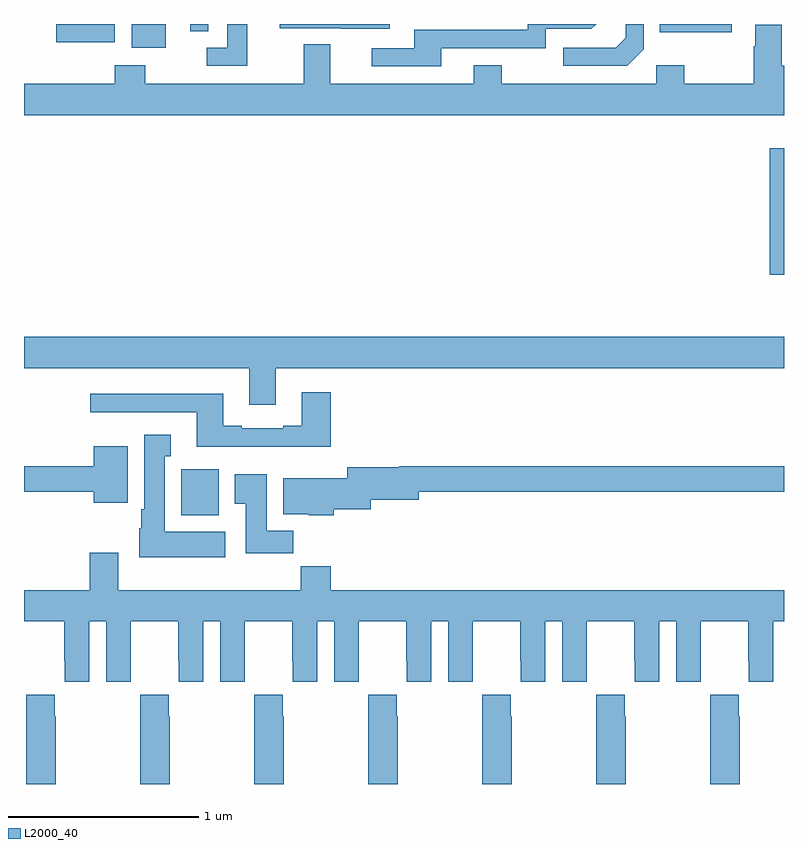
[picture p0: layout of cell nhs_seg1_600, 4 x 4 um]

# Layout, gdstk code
import gdstk
lib = gdstk.Library(unit=1e-6, precision=1e-09)
def R(c, l, rs):  # rectangles x0, y0, x1, y1
    for r in rs: c.add(gdstk.rectangle(r[:2], r[2:], *l))
def P(c, l, *ps):  # polygons
    for p in ps: c.add(gdstk.Polygon(p, *l))
L2000_40 = (2000, 40)

nhs_seg1_600 = lib.new_cell('nhs_seg1_600')
R(nhs_seg1_600, L2000_40, [(143.828,561.614,144.025,561.856), (146.924,562.878,147,563.545), (143.567,564.074,143.746,564.199), (143.169,564.103,143.478,564.199), (146.347,564.155,146.725,564.199), (143.874,564.16,143.97,564.199)])
P(nhs_seg1_600, L2000_40, [(146.262,564.066),(146.262,564.199),(146.166,564.199),(146.166,564.126),(146.115,564.075),(145.839,564.075),(145.839,563.979),(146.175,563.979)],
  [(144.175,564.199),(144.071,564.199),(144.071,564.075),(143.961,564.075),(143.961,563.979),(144.175,563.979)],
  [(144.925,564.199),(144.347,564.199),(144.347,564.177),(144.671,564.177),(144.671,564.173),(144.925,564.173)],
  [(145.195,564.072),(145.746,564.072),(145.746,564.174),(145.986,564.174),(146.011,564.199),(145.65,564.199),(145.65,564.168),(145.055,564.168),(145.055,564.072),(144.831,564.072),(144.831,563.976),(145.195,563.976)],
  [(147,563.98),(146.989,563.98),(146.989,564.196),(146.849,564.196),(146.849,564.083),(146.842,564.083),(146.842,563.884),(146.475,563.884),(146.475,563.983),(146.328,563.983),(146.328,563.884),(145.515,563.884),(145.515,563.983),(145.367,563.983),(145.367,563.884),(144.613,563.884),(144.613,564.092),(144.473,564.092),(144.473,563.884),(143.637,563.884),(143.637,563.983),(143.477,563.983),(143.477,563.884),(143,563.884),(143,563.72),(147,563.72)],
  [(143,562.388),(144.185,562.388),(144.185,562.194),(144.325,562.194),(144.325,562.388),(147,562.388),(147,562.552),(143,562.552)],
  [(144.614,562.261),(144.461,562.261),(144.461,562.084),(144.365,562.084),(144.365,562.071),(144.145,562.071),(144.145,562.084),(144.049,562.084),(144.049,562.252),(143.349,562.252),(143.349,562.155),(143.909,562.155),(143.909,561.974),(144.614,561.974)],
  [(144.058,561.526),(143.74,561.526),(143.74,561.923),(143.773,561.923),(143.773,562.036),(143.633,562.036),(143.633,561.646),(143.618,561.646),(143.618,561.546),(143.606,561.546),(143.606,561.392),(144.058,561.392)],
  [(143.545,561.976),(143.366,561.976),(143.366,561.872),(143,561.872),(143,561.736),(143.366,561.736),(143.366,561.68),(143.545,561.68)],
  [(144.629,561.644),(144.826,561.644),(144.826,561.694),(145.078,561.694),(145.078,561.736),(147,561.736),(147,561.872),(144.974,561.872),(144.974,561.866),(144.702,561.866),(144.702,561.808),(144.365,561.808),(144.365,561.62),(144.498,561.62),(144.498,561.614),(144.629,561.614)],
  [(144.416,561.532),(144.277,561.532),(144.277,561.829),(144.11,561.829),(144.11,561.673),(144.167,561.673),(144.167,561.414),(144.416,561.414)],
  [(143.344,561.056),(143.432,561.056),(143.432,560.736),(143.562,560.736),(143.562,560.848),(143.563,560.848),(143.563,561.056),(143.813,561.056),(143.813,560.848),(143.814,560.848),(143.814,560.736),(143.944,560.736),(143.944,561.056),(144.032,561.056),(144.032,560.736),(144.162,560.736),(144.162,560.848),(144.163,560.848),(144.163,561.056),(144.413,561.056),(144.413,560.848),(144.414,560.848),(144.414,560.736),(144.544,560.736),(144.544,561.056),(144.632,561.056),(144.632,560.736),(144.762,560.736),(144.762,560.848),(144.763,560.848),(144.763,561.056),(145.013,561.056),(145.013,560.848),(145.014,560.848),(145.014,560.736),(145.144,560.736),(145.144,561.056),(145.232,561.056),(145.232,560.736),(145.362,560.736),(145.362,560.848),(145.363,560.848),(145.363,561.056),(145.613,561.056),(145.613,560.848),(145.614,560.848),(145.614,560.736),(145.744,560.736),(145.744,561.056),(145.832,561.056),(145.832,560.736),(145.962,560.736),(145.962,560.848),(145.963,560.848),(145.963,561.056),(146.213,561.056),(146.213,560.848),(146.214,560.848),(146.214,560.736),(146.344,560.736),(146.344,561.056),(146.432,561.056),(146.432,560.736),(146.562,560.736),(146.562,560.848),(146.563,560.848),(146.563,561.056),(146.813,561.056),(146.813,560.848),(146.814,560.848),(146.814,560.736),(146.944,560.736),(146.944,561.056),(147,561.056),(147,561.22),(144.614,561.22),(144.614,561.344),(144.457,561.344),(144.457,561.22),(143.497,561.22),(143.497,561.415),(143.345,561.415),(143.345,561.22),(143,561.22),(143,561.056),(143.213,561.056),(143.213,560.848),(143.214,560.848),(143.214,560.736),(143.344,560.736)],
  [(143.166,560.555),(143.163,560.555),(143.163,560.668),(143.013,560.668),(143.013,560.555),(143.011,560.555),(143.011,560.199),(143.166,560.199)],
  [(143.766,560.555),(143.763,560.555),(143.763,560.668),(143.613,560.668),(143.613,560.555),(143.611,560.555),(143.611,560.199),(143.766,560.199)],
  [(144.366,560.555),(144.363,560.555),(144.363,560.668),(144.213,560.668),(144.213,560.555),(144.211,560.555),(144.211,560.199),(144.366,560.199)],
  [(144.966,560.555),(144.963,560.555),(144.963,560.668),(144.813,560.668),(144.813,560.555),(144.811,560.555),(144.811,560.199),(144.966,560.199)],
  [(146.766,560.555),(146.763,560.555),(146.763,560.668),(146.613,560.668),(146.613,560.555),(146.611,560.555),(146.611,560.199),(146.766,560.199)],
  [(146.166,560.555),(146.163,560.555),(146.163,560.668),(146.013,560.668),(146.013,560.555),(146.011,560.555),(146.011,560.199),(146.166,560.199)],
  [(145.566,560.555),(145.563,560.555),(145.563,560.668),(145.413,560.668),(145.413,560.555),(145.411,560.555),(145.411,560.199),(145.566,560.199)])

lib.write_gds('nhs_seg1_600.gds')
